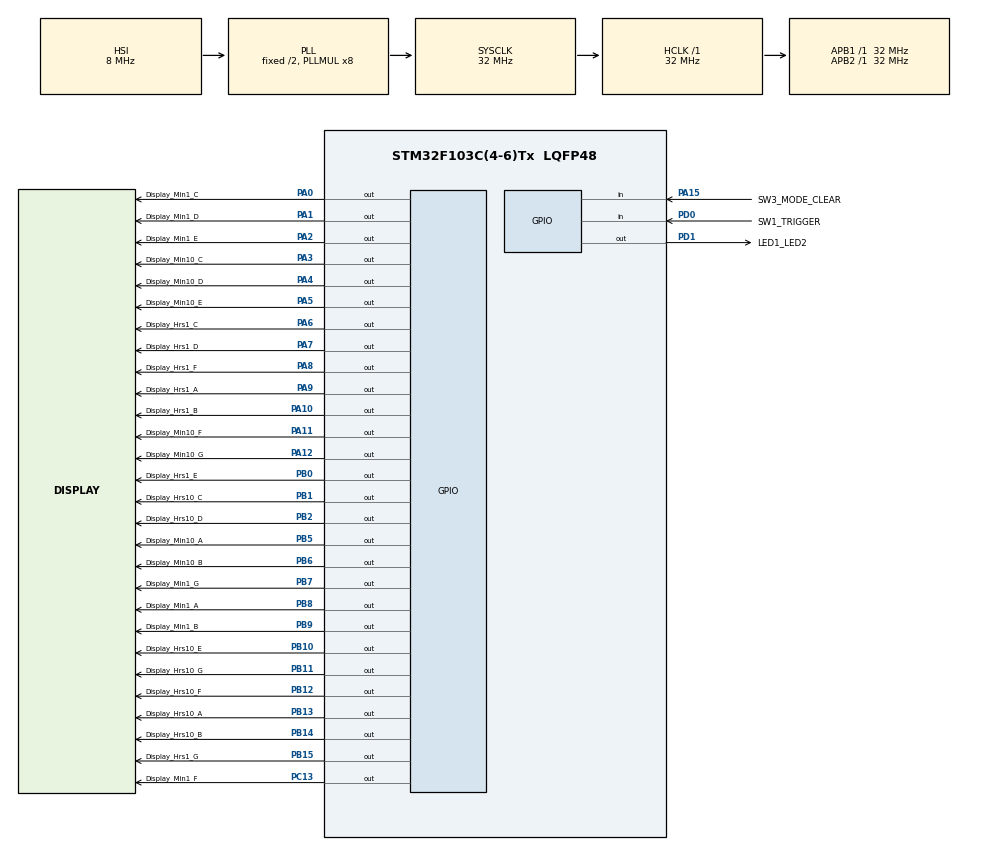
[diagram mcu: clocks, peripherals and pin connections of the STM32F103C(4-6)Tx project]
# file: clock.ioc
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Mcu.Family=STM32F1
Mcu.Name=STM32F103C(4-6)Tx
Mcu.Package=LQFP48
NVIC.PriorityGroup=NVIC_PRIORITYGROUP_4
NVIC.TIM1_UP_IRQn=true\:1\:0\:true\:false\:true\:true\:true\:true
NVIC.TIM2_IRQn=true\:2\:0\:true\:false\:true\:true\:true\:true
NVIC.TIM3_IRQn=true\:0\:0\:false\:false\:true\:true\:true\:true
PA0-WKUP.GPIO_Label=Display_Min1_C
PA0-WKUP.Signal=GPIO_Output
PA1.GPIO_Label=Display_Min1_D
PA1.Signal=GPIO_Output
PA10.GPIO_Label=Display_Hrs1_B
PA10.Signal=GPIO_Output
PA11.GPIO_Label=Display_Min10_F
PA11.Signal=GPIO_Output
PA12.GPIO_Label=Display_Min10_G
PA12.Signal=GPIO_Output
PA15.GPIO_Label=SW3_MODE_CLEAR
PA15.GPIO_PuPd=GPIO_PULLUP
PA15.Signal=GPIO_Input
PA2.GPIO_Label=Display_Min1_E
PA2.Signal=GPIO_Output
PA3.GPIO_Label=Display_Min10_C
PA3.Signal=GPIO_Output
PA4.GPIO_Label=Display_Min10_D
PA4.Signal=GPIO_Output
PA5.GPIO_Label=Display_Min10_E
PA5.Signal=GPIO_Output
PA6.GPIO_Label=Display_Hrs1_C
PA6.Signal=GPIO_Output
PA7.GPIO_Label=Display_Hrs1_D
PA7.Signal=GPIO_Output
PA8.GPIO_Label=Display_Hrs1_F
PA8.Signal=GPIO_Output
PA9.GPIO_Label=Display_Hrs1_A
PA9.Signal=GPIO_Output
PB0.GPIO_Label=Display_Hrs1_E
PB0.Signal=GPIO_Output
PB1.GPIO_Label=Display_Hrs10_C
PB1.Signal=GPIO_Output
PB10.GPIO_Label=Display_Hrs10_E
PB10.Signal=GPIO_Output
PB11.GPIO_Label=Display_Hrs10_G
PB11.Signal=GPIO_Output
PB12.GPIO_Label=Display_Hrs10_F
PB12.Signal=GPIO_Output
PB13.GPIO_Label=Display_Hrs10_A
PB13.Signal=GPIO_Output
PB14.GPIO_Label=Display_Hrs10_B
PB14.Signal=GPIO_Output
PB15.GPIO_Label=Display_Hrs1_G
PB15.Signal=GPIO_Output
PB2.GPIO_Label=Display_Hrs10_D
PB2.Signal=GPIO_Output
PB5.GPIO_Label=Display_Min10_A
PB5.Signal=GPIO_Output
PB6.GPIO_Label=Display_Min10_B
PB6.Signal=GPIO_Output
PB7.GPIO_Label=Display_Min1_G
PB7.Signal=GPIO_Output
PB8.GPIO_Label=Display_Min1_A
PB8.Signal=GPIO_Output
PB9.GPIO_Label=Display_Min1_B
PB9.Signal=GPIO_Output
PC13-TAMPER-RTC.GPIO_Label=Display_Min1_F
PC13-TAMPER-RTC.Signal=GPIO_Output
PC14-OSC32_IN.Mode=LSE-External-Oscillator
PC14-OSC32_IN.Signal=RCC_OSC32_IN
PC15-OSC32_OUT.Mode=LSE-External-Oscillator
PC15-OSC32_OUT.Signal=RCC_OSC32_OUT
PD0-OSC_IN.GPIO_Label=SW1_TRIGGER
PD0-OSC_IN.GPIO_PuPd=GPIO_PULLUP
PD0-OSC_IN.Signal=GPIO_Input
PD1-OSC_OUT.GPIO_Label=LED1_LED2
PD1-OSC_OUT.PinState=GPIO_PIN_RESET
PD1-OSC_OUT.Signal=GPIO_Output
ProjectManager.HeapSize=0x200
ProjectManager.StackSize=0x400
ProjectManager.TargetToolchain=STM32CubeIDE
RCC.AHBFreq_Value=32000000
RCC.APB1Freq_Value=32000000
RCC.APB1TimCLKDivider=1
RCC.APB1TimFreq_Value=32000000
RCC.APB2Freq_Value=32000000
RCC.APB2TimFreq_Value=32000000
RCC.HCLKFreq_Value=32000000
RCC.PLLMUL=RCC_PLL_MUL8
RCC.SYSCLKFreq_VALUE=32000000
RCC.SYSCLKSource=RCC_SYSCLKSOURCE_PLLCLK
RCC.USBFreq_Value=32000000
TIM1.Period=900-1
TIM1.Prescaler=32000-1
TIM2.Period=1000-1
TIM2.Prescaler=32000-1
TIM2.TIM_MasterSlaveMode=TIM_MASTERSLAVEMODE_DISABLE
TIM3.Period=1000-1
TIM3.Prescaler=32000-1
VP_SYS_VS_ND.Mode=No_Debug
VP_TIM1_VS_ClockSourceINT.Mode=Internal
VP_TIM2_VS_ClockSourceINT.Mode=Internal
VP_TIM3_VS_ClockSourceINT.Mode=Internal
board=custom

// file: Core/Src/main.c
/* USER CODE BEGIN Header */
/**
  ******************************************************************************
  * @file           : main.c
  * @brief          : Main program body
  ******************************************************************************
  * @attention
  *
  * Copyright (c) 2023 STMicroelectronics.
  * All rights reserved.
  *
  * This software is licensed under terms that can be found in the LICENSE file
  * in the root directory of this software component.
  * If no LICENSE file comes with this software, it is provided AS-IS.
  *
  ******************************************************************************
  */
/* USER CODE END Header */
#include "main.h"
#include "tim.h"
#include "gpio.h"

/* USER CODE BEGIN Includes */
#include "7_segment_display.h"
/* USER CODE END Includes */

void SystemClock_Config(void);
/* USER CODE BEGIN PFP */
uint16_t timer_cnt_diff(TIM_HandleTypeDef *htim,uint16_t cnt_val_1,uint16_t cnt_val_2);
/* USER CODE END PFP */

/* USER CODE BEGIN 0 */
_Bool mode = CLOCK;
uint8_t Hrs_ = 0, Min_ = 0;
uint16_t timer_cnt_diff(TIM_HandleTypeDef *htim,uint16_t cnt_val_1,uint16_t cnt_val_2){
	if(cnt_val_2 > cnt_val_1)
		return (cnt_val_2 - cnt_val_1);
	else if (cnt_val_2 < cnt_val_1)
		return (__HAL_TIM_GET_AUTORELOAD(htim)  - cnt_val_1 + cnt_val_2);
}
/* USER CODE END 0 */

int main(void)
{
  /* USER CODE BEGIN 1 */
	uint16_t temp,var;
  /* USER CODE END 1 */

  /* MCU Configuration--------------------------------------------------------*/

  /* Reset of all peripherals, Initializes the Flash interface and the Systick. */
  HAL_Init();

  /* Configure the system clock */
  SystemClock_Config();

  /* Initialize all configured peripherals */
  MX_GPIO_Init();
  MX_TIM2_Init();
  MX_TIM1_Init();
  MX_TIM3_Init();
  /* USER CODE BEGIN 2 */
  display_init();
  HAL_TIM_Base_Start_IT(&htim1);
  HAL_TIM_Base_Start_IT(&htim3);
  /* USER CODE END 2 */

  /* Infinite loop */
  /* USER CODE BEGIN WHILE */
  while (1)
  {
	  if((HAL_GPIO_ReadPin(GPIOD,SW1_TRIGGER_Pin) == 0) && mode == TIMER)
			  HAL_TIM_Base_Start_IT(&htim2);
	  else if( (HAL_GPIO_ReadPin(GPIOD,SW1_TRIGGER_Pin) == 1) && mode == TIMER){
		  	  HAL_TIM_Base_Stop_IT(&htim2);
	  }
	  if(HAL_GPIO_ReadPin(GPIOA,SW3_MODE_CLEAR_Pin) == 0){
		  temp = __HAL_TIM_GET_COUNTER(&htim1);
		  if(mode == TIMER ){
			Set_hour(0,0);
			Hrs_ = 0;
			Min_ = 0;
		  }
		  while(HAL_GPIO_ReadPin(GPIOA,SW3_MODE_CLEAR_Pin) == 0 ){
			  var = timer_cnt_diff(&htim1,temp,__HAL_TIM_GET_COUNTER(&htim1));
			  if( var >= 800 && var <=803){
				display_clear_all(); // in order to signalize a mode switch
				mode = !mode;
				if(mode == TIMER){
					Set_hour(0,0);
					Hrs_ = 0;
					Min_ = 0;
				}
				break;
			  }
		 }
	  }
    /* USER CODE END WHILE */

  }
}

void SystemClock_Config(void)
{
  RCC_OscInitTypeDef RCC_OscInitStruct = {0};
  RCC_ClkInitTypeDef RCC_ClkInitStruct = {0};

  /** Initializes the RCC Oscillators according to the specified parameters
  * in the RCC_OscInitTypeDef structure.
  */
  RCC_OscInitStruct.OscillatorType = RCC_OSCILLATORTYPE_HSI;
  RCC_OscInitStruct.HSIState = RCC_HSI_ON;
  RCC_OscInitStruct.HSICalibrationValue = RCC_HSICALIBRATION_DEFAULT;
  RCC_OscInitStruct.PLL.PLLState = RCC_PLL_ON;
  RCC_OscInitStruct.PLL.PLLSource = RCC_PLLSOURCE_HSI_DIV2;
  RCC_OscInitStruct.PLL.PLLMUL = RCC_PLL_MUL8;
  if (HAL_RCC_OscConfig(&RCC_OscInitStruct) != HAL_OK)
  {
    Error_Handler();
  }

  /** Initializes the CPU, AHB and APB buses clocks
  */
  RCC_ClkInitStruct.ClockType = RCC_CLOCKTYPE_HCLK|RCC_CLOCKTYPE_SYSCLK
                              |RCC_CLOCKTYPE_PCLK1|RCC_CLOCKTYPE_PCLK2;
  RCC_ClkInitStruct.SYSCLKSource = RCC_SYSCLKSOURCE_PLLCLK;
  RCC_ClkInitStruct.AHBCLKDivider = RCC_SYSCLK_DIV1;
  RCC_ClkInitStruct.APB1CLKDivider = RCC_HCLK_DIV1;
  RCC_ClkInitStruct.APB2CLKDivider = RCC_HCLK_DIV1;

  if (HAL_RCC_ClockConfig(&RCC_ClkInitStruct, FLASH_LATENCY_1) != HAL_OK)
  {
    Error_Handler();
  }
}

void Error_Handler(void)
{
  __disable_irq();
  while (1)
  {
  }
}
